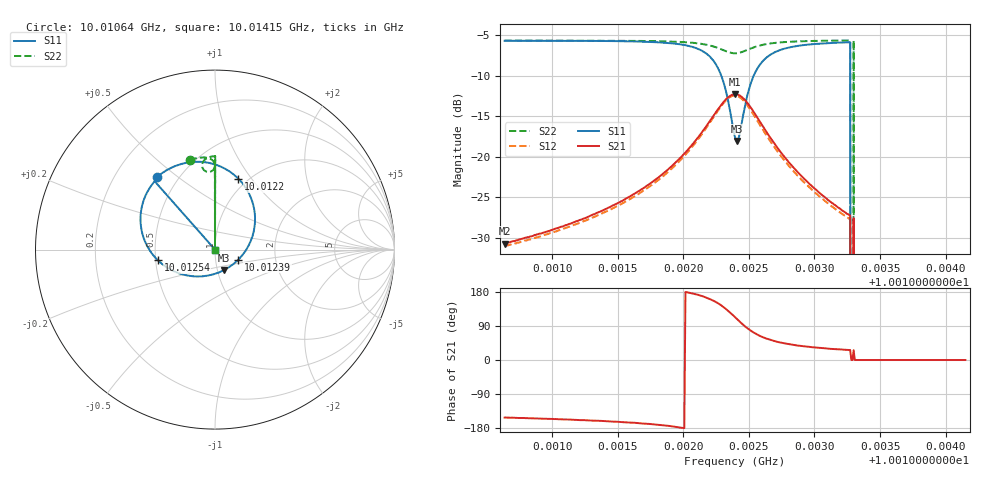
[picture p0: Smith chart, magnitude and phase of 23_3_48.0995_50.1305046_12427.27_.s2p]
#  HZ  S  RI  R  50.00
! Rohde & Schwarz Vector Network Analyzer
! Rohde-Schwarz,ZNB20-2Port,1311601062101988,3.16
! Created: UTC 12/23/2023, 3:36:52 AM
! freq[Hz]  re:S11  im:S11  re:S21  im:S21  re:S12  im:S12  re:S22  im:S22
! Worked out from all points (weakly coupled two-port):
!   401 points, 10.01064 GHz to 10.01415 GHz, reference 50 ohm
!   highest |S21| = -12.29 dB at 10.01239 GHz (marker M1); lowest = -30.7 dB at 10.01064 GHz (marker M2)
!   lowest |S11| = -18.1 dB at 10.01241 GHz (marker M3), VSWR 1.29, Z = 54 - j12.5 ohm
!   |S11| at or under -10 dB: 10.01229 GHz to 10.01254 GHz (248.1 kHz wide, 0.00248 % of centre); 10.01327 GHz to end of sweep
!   |S22| runs from - to -5.7 dB; largest |S21 - S12| = 0.011
!   S11 on the Smith chart (normalised r, x): 10.01064 GHz: 0.38, +0.42; 10.0122 GHz: 0.91, +0.87; 10.01239 GHz: 1.29, -0.15; 10.01254 GHz: 0.51, -0.07; 10.01415 GHz: 1.00, +0.00
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1.0010636e10  -0.325 0.4041  -0.0257 -0.0137  -0.0239 -0.0146  -0.1409 0.5003
1.0011225e10  -0.2673 0.4435  -0.0381 -0.015  -0.0359 -0.0162  -0.1006 0.5098
1.0011814e10  -0.1454 0.486  -0.074 -0.0112  -0.0707 -0.0149  -0.0517 0.513
1.001206e10  -0.0109 0.4776  -0.1164 0.00771  -0.1131 0.001  -0.0231 0.5045
1.00122e10  0.1304 0.3947  -0.1559 0.0535  -0.1554 0.0439  -0.00443 0.4853
1.0012297e10  0.2209 0.2075  -0.1677 0.1311  -0.1708 0.1208  -0.0024 0.457
1.0012385e10  0.1302 -0.0558  -0.1069 0.2177  -0.1105 0.2109  -0.0291 0.4331
1.0012394e10  0.1058 -0.0781  -0.0956 0.2232  -0.0996 0.2164  -0.0329 0.4326
1.0012411e10  0.0519 -0.1135  -0.0719 0.231  -0.0758 0.2242  -0.0414 0.4329
1.0012464e10  -0.1255 -0.1483  -0.00207 0.226  -0.00814 0.2195  -0.0613 0.4432
1.0012543e10  -0.3185 -0.0593  0.0598 0.1752  0.0527 0.1697  -0.072 0.4687
1.0012622e10  -0.396 0.0606  0.0778 0.1243  0.07 0.1212  -0.067 0.4883
1.0012737e10  -0.4147 0.1855  0.0747 0.0783  0.0681 0.0772  -0.0536 0.504
1.0012983e10  -0.3801 0.3158  0.0544 0.0364  0.05 0.037  -0.0267 0.5166
1.0013255e10  -0.3387 0.3782  0.0395 0.0197  0.0365 0.0206  -0.00258 0.5209
1.0013273e10  -0.3364 0.381  0.0387 0.0191  0.0358 0.0198  -0.00099 0.521
1.0013281e10  0 0  0 0  0 0  0 0
1.0013299e10  0 0  0.0375 0.0181  0.0348 0.0191  0.00111 0.521
1.0013317e10  0 0  0 0  0 0  0 0
1.0013325e10  0 0  0 0  0 0  0 0
1.0013571e10  0 0  0 0  0 0  0 0
1.0014151e10  0 0  0 0  0 0  0 0
